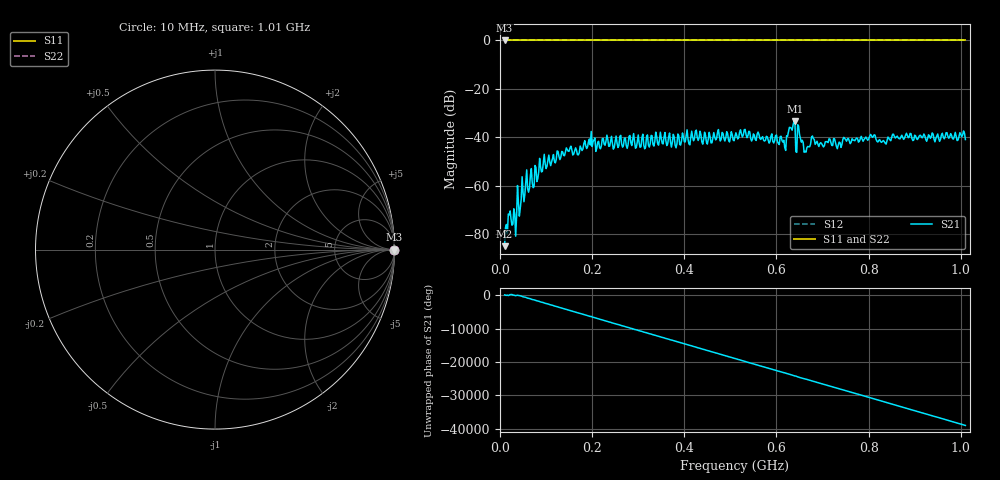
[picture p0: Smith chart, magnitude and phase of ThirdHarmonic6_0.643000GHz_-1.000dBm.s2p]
! 8/15/2025 9:18:18 PM
! C:\ANRITSUVNA\TEMP\TEMP.S2P
! CHANNEL.1
! TR.MEASUREMENT
! RAW.DATA
! RF.CORRECTION.OFF
! AVERAGING.OFF
! IF.BANDWIDTH: 5KHZ
! SWEEPTYPE:  FREQ.SWEEP(Linear)
! Reference Plane Port Info
! PORT:  PORT1  PORT2
! DISTANCE:  0  m  0  m
! TIME:  0  s  0  s
! PHASE.OFFSET:  0  deg.  0  deg.
! LOSS:  0  dB  0  dB
! REF.LOSS:  0  dB  0  dB
! REF.FREQ:  0  Hz  0  Hz
! Power Info
! POWER:  -20  dBm  -20  dBm
! EFF.POWER:  -20  dBm  -20  dBm
! SOURCE.ATTEN:  0  dB  0  dB
! TEST.ATTEN:  0  dB  0  dB
# GHZ S RI R 50.0
! FREQ.GHZ  S11RE  S11IM  S21RE  S21IM  S12RE  S12IM  S22RE  S22IM
!; PortSelection: Port_12
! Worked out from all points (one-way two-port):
!   501 points, 10 MHz to 1.01 GHz, reference 50 ohm
!   highest |S21| = -33.40 dB at 640 MHz (marker M1); lowest = -85.0 dB at 10 MHz (marker M2)
!   lowest |S11| = 0.0 dB at 10 MHz (marker M3)
!   |S11| at or under -10 dB: nowhere
!   |S22| runs from 0.0 to 0.0 dB; largest |S21 - S12| = 1
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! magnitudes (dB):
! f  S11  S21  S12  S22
! 10 MHz  0.0  -85.0  0.0  0.0
! 22 MHz  0.0  -70.5  0.0  0.0
! 32 MHz  0.0  -71.8  0.0  0.0
! 34 MHz  0.0  -80.9  0.0  0.0
! 52 MHz  0.0  -66.7  0.0  0.0
! 90 MHz  0.0  -54.4  0.0  0.0
! 178 MHz  0.0  -45.5  0.0  0.0
! 202 MHz  0.0  -41.8  0.0  0.0
! 212 MHz  0.0  -42.1  0.0  0.0
! 344 MHz  0.0  -43.3  0.0  0.0
! 510 MHz  0.0  -39.7  0.0  0.0
! 530 MHz  0.0  -36.9  0.0  0.0
! 616 MHz  0.0  -41.3  0.0  0.0
! 636 MHz  0.0  -35.0  0.0  0.0
! 640 MHz  0.0  -33.4  0.0  0.0
! 650 MHz  0.0  -38.9  0.0  0.0
! 664 MHz  0.0  -46.2  0.0  0.0
! 678 MHz  0.0  -39.5  0.0  0.0
! 736 MHz  0.0  -42.0  0.0  0.0
! 808 MHz  0.0  -40.0  0.0  0.0
! 844 MHz  0.0  -40.5  0.0  0.0
! 1.01 GHz  0.0  -41.0  0.0  0.0
